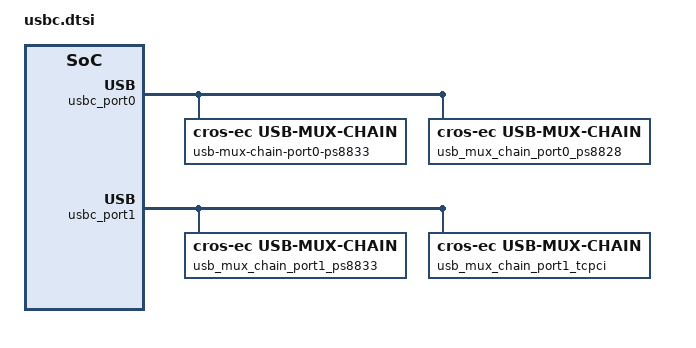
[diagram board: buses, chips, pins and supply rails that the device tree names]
/* Copyright 2022 The ChromiumOS Authors
 * Use of this source code is governed by a BSD-style license that can be
 * found in the LICENSE file.
 */

/ {
	usbc {
		#address-cells = <1>;
		#size-cells = <0>;

		usbc_port0: port0@0 {
			compatible = "named-usbc-port";
			reg = <0>;
			tcpc = <&tcpc_port0>;
			chg = <&charger>;
			ppc = <&ppc_port0>;

			usb-mux-chain-port0-ps8833 {
				compatible = "cros-ec,usb-mux-chain";
				usb-muxes = <&amd_fp8_port0 &ps8833_port0>;
			};

			usb_mux_chain_port0_ps8828: usb-mux-chain-port0-ps8828 {
				compatible = "cros-ec,usb-mux-chain";
				usb-muxes = <&amd_fp8_port0 &ps8828_port0>;
				alternative-chain;
			};
		};

		usbc_port1: port1@1 {
			compatible = "named-usbc-port";
			reg = <1>;

			usb_mux_chain_port1_ps8833: usb-mux-chain-port1-ps8833 {
				compatible = "cros-ec,usb-mux-chain";
				usb-muxes = <&amd_fp8_port1 &ps8833_port1>;
			};

			usb_mux_chain_port1_tcpci: usb-mux-chain-port1-tcpci {
				compatible = "cros-ec,usb-mux-chain";
				usb-muxes = <&amd_fp8_port1 &tcpci_mux_c1>;
				alternative-chain;
			};
		};
		port1-muxes {
			tcpci_mux_c1: tcpci-mux-c1 {
				compatible = "cros-ec,usbc-mux-tcpci";
				hpd-update = "ps8xxx_tcpc_update_hpd_status";
			};
		};
	};
};
